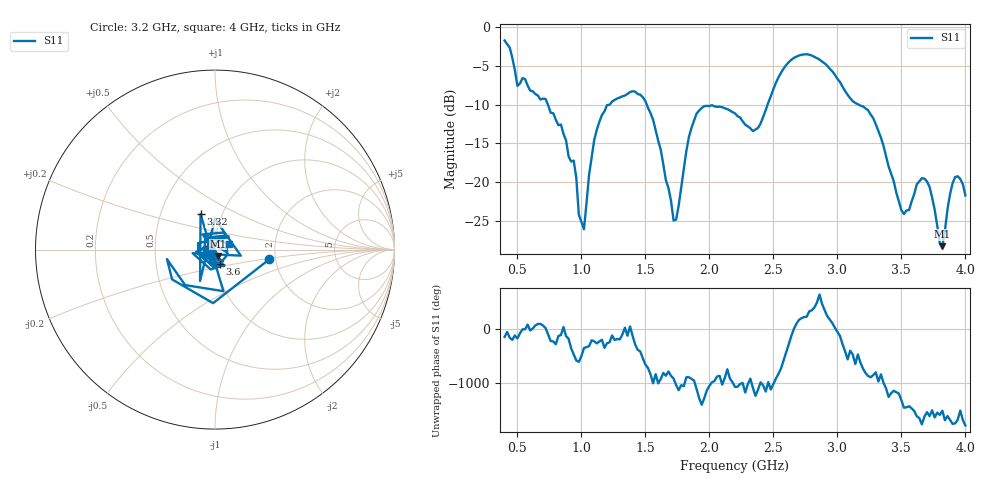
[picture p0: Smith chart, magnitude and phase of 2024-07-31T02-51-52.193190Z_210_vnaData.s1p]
!Created with skrf (http://scikit-rf.org).
# Hz S RI R 50.0
!freq ReS11 ImS11
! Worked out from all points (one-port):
!   181 points, 400 MHz to 4 GHz, reference 50 ohm
!   lowest |S11| = -28.3 dB at 3.82 GHz (marker M1), VSWR 1.08, Z = 51.5 - j3.62 ohm
!   |S11| at or under -10 dB: 738.3 MHz to 1.221 GHz (483 MHz wide, 49.3 % of centre); 1.511 GHz to 2.455 GHz (944.3 MHz wide, 47.6 % of centre); 3.165 GHz to end of sweep
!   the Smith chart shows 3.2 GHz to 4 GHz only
!   S11 on the Smith chart (normalised r, x): 3.2 GHz: 1.85, -0.22; 3.32 GHz: 0.79, +0.33; 3.6 GHz: 1.04, -0.17; 4 GHz: 1.16, +0.08
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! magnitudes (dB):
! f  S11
! 400 MHz  -1.7
! 500 MHz  -7.6
! 720 MHz  -9.3
! 860 MHz  -13.8
! 940 MHz  -17.2
! 980 MHz  -24.2
! 1.02 GHz  -26.1
! 1.12 GHz  -13.3
! 1.3 GHz  -9.1
! 1.5 GHz  -9.5
! 1.62 GHz  -15.8
! 1.72 GHz  -24.9
! 1.76 GHz  -23.0
! 1.9 GHz  -11.1
! 2.2 GHz  -11.1
! 2.38 GHz  -13.0
! 2.66 GHz  -4.0
! 2.86 GHz  -4.2
! 3.1 GHz  -9.2
! 3.2 GHz  -10.2
! 3.32 GHz  -13.4
! 3.5 GHz  -23.6
! 3.56 GHz  -23.6
! 3.6 GHz  -21.5
! 3.7 GHz  -19.9
! 3.82 GHz  -28.3
! 3.92 GHz  -19.3
! 4 GHz  -21.7
